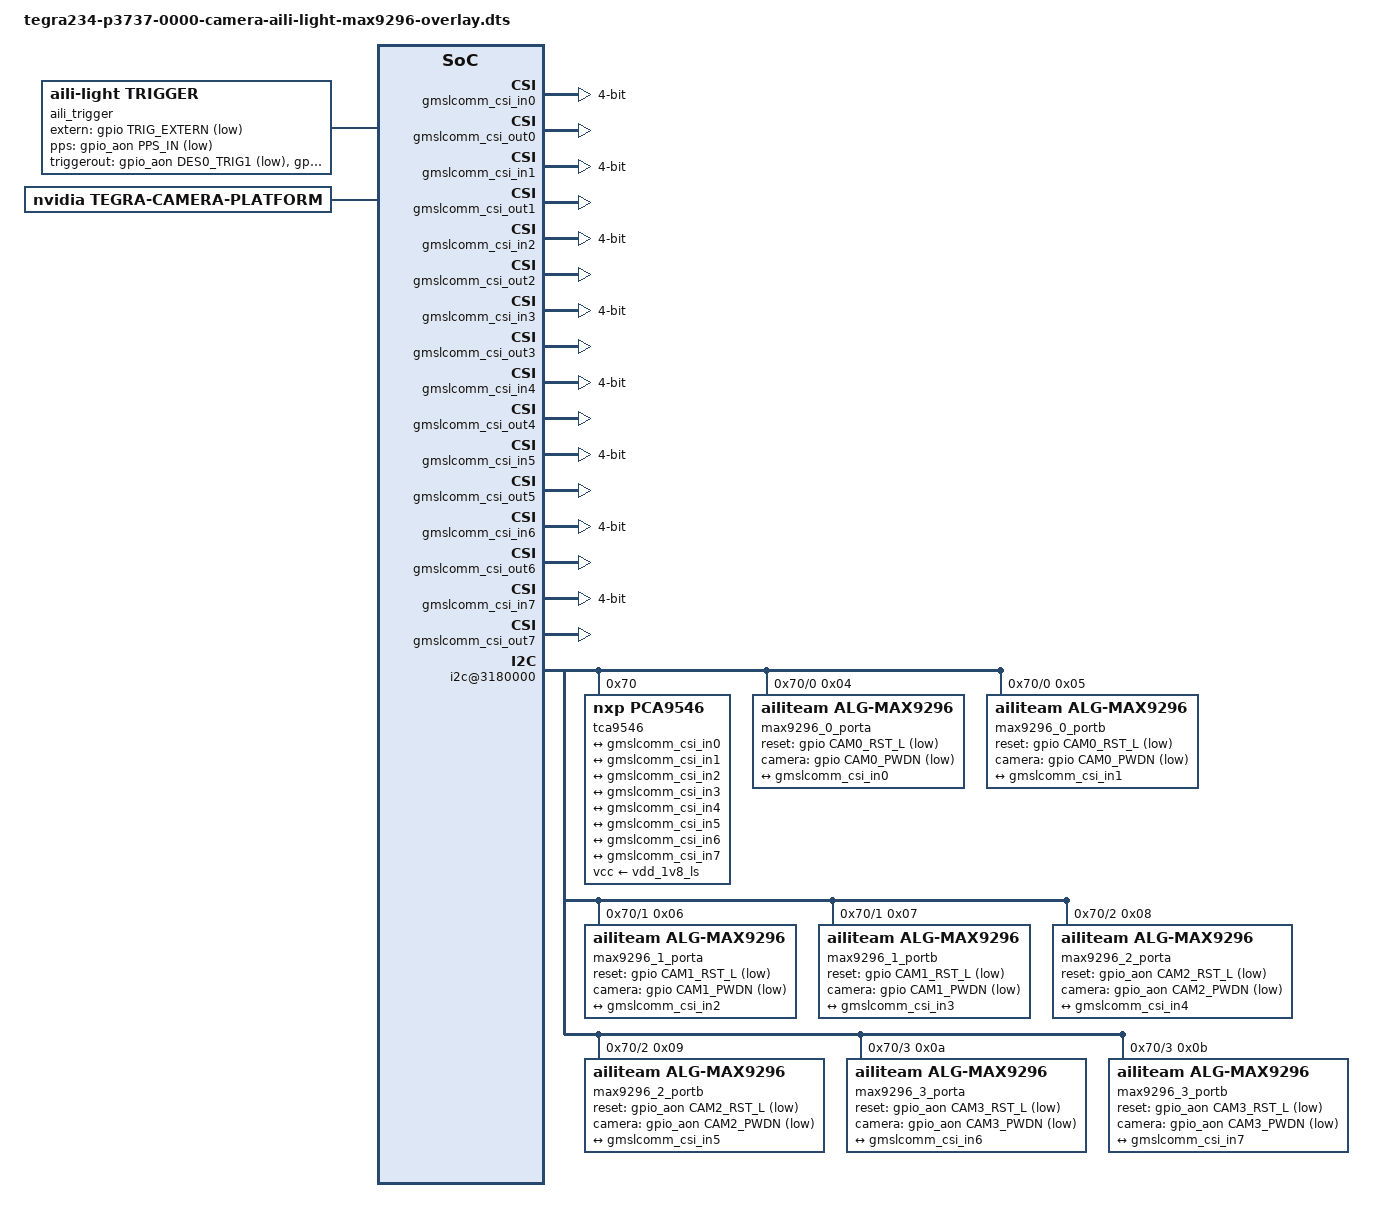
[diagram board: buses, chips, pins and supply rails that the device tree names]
// SPDX-License-Identifier: GPL-2.0-only
// SPDX-FileCopyrightText: Copyright (c) 2018-2023, NVIDIA CORPORATION & AFFILIATES. All rights reserved.

/dts-v1/;
/plugin/;


// #include <dt-bindings/clock/tegra234-clock.h>
#include <dt-bindings/gpio/tegra234-gpio.h>
#include <dt-bindings/tegra234-p3737-0000+p3701-0000.h>
#include <dt-bindings/pinctrl/pinctrl-tegra.h>

#define CAMERA_I2C_MUX_BUS(x) (0x1E + x)

#define CAM0_RST_L	TEGRA234_MAIN_GPIO(H, 3)
#define CAM0_PWDN	TEGRA234_MAIN_GPIO(H, 6)
#define CAM1_RST_L	TEGRA234_MAIN_GPIO(AC, 1)
#define CAM1_PWDN	TEGRA234_MAIN_GPIO(AC, 0)

#define CAM2_RST_L	TEGRA234_AON_GPIO(CC, 2)
#define CAM2_PWDN	TEGRA234_AON_GPIO(CC, 0)
#define CAM3_RST_L	TEGRA234_AON_GPIO(CC, 3)
#define CAM3_PWDN	TEGRA234_AON_GPIO(CC, 1)


#define TRIG_EXTERN		TEGRA234_MAIN_GPIO(AC, 7)
#define DES0_TRIG1		TEGRA234_AON_GPIO(BB, 2)
#define DES0_TRIG2		TEGRA234_MAIN_GPIO(AC, 3)
#define DES1_TRIG1		TEGRA234_AON_GPIO(AA, 7)
#define DES1_TRIG2		TEGRA234_MAIN_GPIO(H, 1)
#define DES2_TRIG1		TEGRA234_AON_GPIO(AA, 4)
#define DES2_TRIG2		TEGRA234_MAIN_GPIO(AC, 4)
#define DES3_TRIG1		TEGRA234_MAIN_GPIO(AC, 2)
#define DES3_TRIG2		TEGRA234_MAIN_GPIO(H, 5)

#define PPS_IN			TEGRA234_AON_GPIO(BB, 0)

// #include "aili-light/tegra234-eac5000-aili-light-camera-modules.dtsi"

/* camera control gpio definitions */
/ {
	overlay-name = "AGX ORIN Aili-Light MAX9296A Device Tree Overlay";
	jetson-header-name = "Jetson AGX CSI Connector";
	compatible = JETSON_COMPATIBLE;
	
	fragment@0 {
		target-path = "/";
		
		__overlay__ {
			tegra-capture-vi {
				status = "okay";
				num-channels = <8>;
				ports {
					status = "okay";
					port@0 {
						reg = <0>;
						status = "okay";
						gmslcomm_vi_in0: endpoint  {
							status = "okay";
							vc-id = <1>;
							port-index = <0>;
							bus-width = <4>;
							remote-endpoint = <&gmslcomm_csi_out0>;
						};
					};
					port@1 {
						reg = <1>;
						status = "okay";
						gmslcomm_vi_in1: endpoint {
							status = "okay";
							vc-id = <0>;
							port-index = <0>;
							bus-width = <4>;
							remote-endpoint = <&gmslcomm_csi_out1>;
						};
					};
					port@2 {
						reg = <2>;
						status = "okay";
						gmslcomm_vi_in2: endpoint  {
							status = "okay";
							vc-id = <1>;
							port-index = <2>;
							bus-width = <4>;
							remote-endpoint = <&gmslcomm_csi_out2>;
						};
					};
					port@3 {
						reg = <3>;
						status = "okay";
						gmslcomm_vi_in3: endpoint {
							status = "okay";
							vc-id = <0>;
							port-index = <2>;
							bus-width = <4>;
							remote-endpoint = <&gmslcomm_csi_out3>;
						};
					};
					port@4 {
						reg = <4>;
						status = "okay";
						gmslcomm_vi_in4: endpoint  {
							status = "okay";
							vc-id = <1>;
							port-index = <4>;
							bus-width = <4>;
							remote-endpoint = <&gmslcomm_csi_out4>;
						};
					};
					port@5 {
						reg = <5>;
						status = "okay";
						gmslcomm_vi_in5: endpoint {
							status = "okay";
							vc-id = <0>;
							port-index = <4>;
							bus-width = <4>;
							remote-endpoint = <&gmslcomm_csi_out5>;
						};
					};
					port@6 {
						reg = <6>;
						status = "okay";
						gmslcomm_vi_in6: endpoint  {
							status = "okay";
							vc-id = <1>;
							port-index = <5>;
							bus-width = <4>;
							remote-endpoint = <&gmslcomm_csi_out6>;
						};
					};
					port@7 {
						reg = <7>;
						status = "okay";
						gmslcomm_vi_in7: endpoint {
							status = "okay";
							vc-id = <0>;
							port-index = <5>;
							bus-width = <4>;
							remote-endpoint = <&gmslcomm_csi_out7>;
						};
					};
				};
			};

			bus@0{

				gpio@2200000 {
					camera-control-output-low {
						output-low;
						gpios = <CAM0_RST_L 0 CAM0_PWDN 0
						CAM1_RST_L 0 CAM1_PWDN 0>;
						label = "cam0-rst", "cam0-pwdn",
						"cam1-rst", "cam1-pwdn";
					};
					trigger-extern-input{
						input;
						gpios = <TRIG_EXTERN 0 PPS_IN 0>;
						label = "trigger-extern","pps-in";
						status = "okay";
					};
					trigger-output-low {
						output-low;
						gpios = < DES0_TRIG2 0 DES1_TRIG2 0 DES2_TRIG2 0
						DES3_TRIG1 0 DES3_TRIG2 0>;
						label = "des0-trig2","des1-trig2","des2-trig2",
						"des3-trig1", "des3-trig2";
						status = "okay";
					};
				};
				gpio@c2f0000 {
					camera-control-output-low {
						output-low;
						gpios = <CAM2_RST_L 0 CAM2_PWDN 0
						CAM3_RST_L 0 CAM3_PWDN 0>;
						label = "cam2-rst", "cam2-pwdn",
						"cam3-rst", "cam3-pwdn";
					};
					trigger-output-low {
						output-low;
						gpios = <DES0_TRIG1 0 DES1_TRIG1 0  DES2_TRIG1 0>;
						label = "des0-trig1", "des1-trig1", "des2-trig1";
						status = "okay";
					};
				};

				aili_trigger: aili_trigger {
					compatible = "aili-light,trigger";

					extern-gpio = <&gpio TRIG_EXTERN GPIO_ACTIVE_LOW>;
					pps-gpio = <&gpio_aon PPS_IN GPIO_ACTIVE_LOW>;
					triggerout-gpios = <&gpio_aon   DES0_TRIG1 GPIO_ACTIVE_LOW>,
									<&gpio  		DES0_TRIG2 GPIO_ACTIVE_LOW>,
									<&gpio_aon   	DES1_TRIG1 GPIO_ACTIVE_LOW>,
									<&gpio  		DES1_TRIG2 GPIO_ACTIVE_LOW>,
									<&gpio_aon   	DES2_TRIG1 GPIO_ACTIVE_LOW>,
									<&gpio  		DES2_TRIG2 GPIO_ACTIVE_LOW>,
									<&gpio  		DES3_TRIG1 GPIO_ACTIVE_LOW>,
									<&gpio  		DES3_TRIG2 GPIO_ACTIVE_LOW>;
					status = "okay";
				};

				host1x@13e00000 {
					nvcsi@15a00000 {
						num-channels = <8>;
						channel@0 {
							status = "okay";
							reg = <0>;
							ports {
								status = "okay";
								port@0 {
									reg = <0>;
									status = "okay";
									gmslcomm_csi_in0: endpoint@0 {
										status = "okay";
										port-index = <0>;
										bus-width = <4>;
										remote-endpoint = <&gmslcomm_des_out0>;
									};
								};
								port@1 {
									reg = <1>;
									status = "okay";
									gmslcomm_csi_out0: endpoint@1 {
										status = "okay";
										remote-endpoint = <&gmslcomm_vi_in0>;
									};
								};
							};
						};
						channel@1 {
							reg = <1>;
							status = "okay";
							ports {
								status = "okay";
								port@0 {
									reg = <0>;
									status = "okay";
									gmslcomm_csi_in1: endpoint@2 {
										status = "okay";
										port-index = <0>;
										bus-width = <4>;
										remote-endpoint = <&gmslcomm_des_out1>;
									};
								};
								port@1 {
									reg = <1>;
									status = "okay";
									gmslcomm_csi_out1: endpoint@3 {
										status = "okay";
										remote-endpoint = <&gmslcomm_vi_in1>;
									};
								};
							};
						};
						channel@2 {
							reg = <2>;
							status = "okay";
							ports {
								status = "okay";
								port@0 {
									reg = <0>;
									status = "okay";
									gmslcomm_csi_in2: endpoint@4 {
										status = "okay";
										port-index = <2>;
										bus-width = <4>;
										remote-endpoint = <&gmslcomm_des_out2>;
									};
								};
								port@1 {
									reg = <1>;
									status = "okay";
									gmslcomm_csi_out2: endpoint@5 {
										status = "okay";
										remote-endpoint = <&gmslcomm_vi_in2>;
									};
								};
							};
						};
						channel@3 {
							reg = <3>;
							status = "okay";
							ports {
								status = "okay";
								port@0 {
									reg = <0>;
									status = "okay";
									gmslcomm_csi_in3: endpoint@6 {
										status = "okay";
										port-index = <2>;
										bus-width = <4>;
										remote-endpoint = <&gmslcomm_des_out3>;
									};
								};
								port@1 {
									reg = <1>;
									status = "okay";
									gmslcomm_csi_out3: endpoint@7 {
										status = "okay";
										remote-endpoint = <&gmslcomm_vi_in3>;
									};
								};
							};
						};
						channel@4 {
							reg = <4>;
							status = "okay";
							ports {
								status = "okay";
								port@0 {
									reg = <0>;
									status = "okay";
									gmslcomm_csi_in4: endpoint@8 {
										status = "okay";
										port-index = <4>;
										bus-width = <4>;
										remote-endpoint = <&gmslcomm_des_out4>;
									};
								};
								port@1 {
									reg = <1>;
									status = "okay";
									gmslcomm_csi_out4: endpoint@9 {
										status = "okay";
										remote-endpoint = <&gmslcomm_vi_in4>;
									};
								};
							};
						};
						channel@5 {
							reg = <5>;
							status = "okay";
							ports {
								status = "okay";
								port@0 {
									reg = <0>;
									status = "okay";
									gmslcomm_csi_in5: endpoint@10 {
										status = "okay";
										port-index = <4>;
										bus-width = <4>;
										remote-endpoint = <&gmslcomm_des_out5>;
									};
								};
								port@1 {
									reg = <1>;
									status = "okay";
									gmslcomm_csi_out5: endpoint@11 {
										status = "okay";
										remote-endpoint = <&gmslcomm_vi_in5>;
									};
								};
							};
						};
						channel@6 {
							reg = <6>;
							status = "okay";
							ports {
								status = "okay";
								port@0 {
									status = "okay";
									reg = <0>;
									gmslcomm_csi_in6: endpoint@12 {
										status = "okay";
										port-index = <6>;
										bus-width = <4>;
										remote-endpoint = <&gmslcomm_des_out6>;
									};
								};
								port@1 {
									status = "okay";
									reg = <1>;
									gmslcomm_csi_out6: endpoint@13 {
										status = "okay";
										remote-endpoint = <&gmslcomm_vi_in6>;
									};
								};
							};
						};
						channel@7 {
							reg = <7>;
							status = "okay";
							ports {
								status = "okay";

								port@0 {
									reg = <0>;
									status = "okay";
									gmslcomm_csi_in7: endpoint@14 {
										status = "okay";
										port-index = <6>;
										bus-width = <4>;
										remote-endpoint = <&gmslcomm_des_out7>;
									};
								};
								port@1 {
									reg = <1>;
									status = "okay";
									gmslcomm_csi_out7: endpoint@15 {
										status = "okay";
										remote-endpoint = <&gmslcomm_vi_in7>;
									};
								};
							};
						};
					};
				};
				i2c@3180000 {
					status = "okay";
					#address-cells = <1>;
					#size-cells = <0>;
					tca9546@70 {
						status = "okay";
						compatible = "nxp,pca9546";
						reg = <0x70>;
						vcc-supply = <&vdd_1v8_ls>;
						force_bus_start = <CAMERA_I2C_MUX_BUS(0)>;
						#address-cells = <1>;
						#size-cells = <0>;
						i2c-mux-idle-disconnect;
						skip_mux_detect = "yes";
						i2c@0 {
							reg = <0>;
							i2c-mux,deselect-on-exit;
							#address-cells = <1>;
							#size-cells = <0>;
							status = "okay";
							max9296_0_porta:gmslcomm_a@4 {
								compatible = "ailiteam,alg-max9296";
								status = "okay";
								reg = <0x4>;
								addr_reg = <0x48>;// i2c地址
								subdev_name = "m00_b_MAX9296A";// V4l2子设备 名字，用于SDK检索
								reset-gpios = <&gpio CAM0_RST_L GPIO_ACTIVE_LOW>;	// 复位引脚
								camera-gpios = <&gpio CAM0_PWDN GPIO_ACTIVE_LOW>;	// 电源引脚
								companion_device = <&max9296_0_portb>;// 伴生设备
								mode0 {
									mclk_khz = "24000";
									num_lanes = "4";
									tegra_sinterface = "serial_e";
									vc_id = "1";
									discontinuous_clk = "no";
									dpcm_enable = "false";
									cil_settletime = "0";
									
									dynamic_pixel_bit_depth = "12";
									csi_pixel_bit_depth = "12";
									pixel_t = "yuv_uyvy16";
									active_w = "1920";
									active_h = "1536";
									readout_orientation = "0";
									line_length = "2200";
									inherent_gain = "1";
									pix_clk_hz = "74250000";
									serdes_pix_clk_hz = "400000000";
									
									gain_factor = "10";
									min_gain_val = "0"; /* dB */
									max_gain_val = "300"; /* dB */
									step_gain_val = "3"; /* 0.3 */
									default_gain = "0";
									min_hdr_ratio = "1";
									max_hdr_ratio = "1";
									framerate_factor = "1000000";
									min_framerate = "30000000";
									max_framerate = "30000000";
									step_framerate = "1";
									default_framerate = "30000000";
									exposure_factor = "1000000";
									min_exp_time = "59"; /*us, 2 lines*/
									max_exp_time = "33333";
									step_exp_time = "1";
									default_exp_time = "33333";/* us */
									embedded_metadata_height = "0";
								};
								ports {
									status = "okay";
									port@0 {
										status = "okay";
										gmslcomm_des_out0: endpoint {
											status = "okay";
											vc-id = <1>;
											port-index = <0>;
											bus-width = <4>;
											remote-endpoint = <&gmslcomm_csi_in0>;
										};
									};
								};
							};
							max9296_0_portb:gmslcomm_b@5 {
								compatible = "ailiteam,alg-max9296";
								status = "okay";
								reg = <0x5>;
								addr_reg = <0x48>;// i2c地址
								subdev_name = "m01_b_MAX9296A";// V4l2子设备 名字，用于SDK检索
								reset-gpios = <&gpio CAM0_RST_L GPIO_ACTIVE_LOW>;	// 复位引脚
								camera-gpios = <&gpio CAM0_PWDN GPIO_ACTIVE_LOW>;	// 电源引脚
								companion_device = <&max9296_0_porta>;// 伴生设备
								mode0 {
									mclk_khz = "24000";
									num_lanes = "4";
									tegra_sinterface = "serial_e";
									vc_id = "0";
									discontinuous_clk = "no";
									dpcm_enable = "false";
									cil_settletime = "0";
									
									dynamic_pixel_bit_depth = "12";
									csi_pixel_bit_depth = "12";
									pixel_t = "yuv_uyvy16";
									active_w = "1920";
									active_h = "1536";
									readout_orientation = "0";
									line_length = "2200";
									inherent_gain = "1";
									pix_clk_hz = "74250000";
									serdes_pix_clk_hz = "400000000";
									
									gain_factor = "10";
									min_gain_val = "0"; /* dB */
									max_gain_val = "300"; /* dB */
									step_gain_val = "3"; /* 0.3 */
									default_gain = "0";
									min_hdr_ratio = "1";
									max_hdr_ratio = "1";
									framerate_factor = "1000000";
									min_framerate = "30000000";
									max_framerate = "30000000";
									step_framerate = "1";
									default_framerate = "30000000";
									exposure_factor = "1000000";
									min_exp_time = "59"; /*us, 2 lines*/
									max_exp_time = "33333";
									step_exp_time = "1";
									default_exp_time = "33333";/* us */
									embedded_metadata_height = "0";
								};
								ports {
									status = "okay";
									port@0 {
										status = "okay";
										gmslcomm_des_out1: endpoint {
											status = "okay";
											vc-id = <0>;
											port-index = <0>;
											bus-width = <4>;
											remote-endpoint = <&gmslcomm_csi_in1>;
										};
									};
								};
							};
						};
						i2c@1 {
							reg = <1>;
							i2c-mux,deselect-on-exit;
							#address-cells = <1>;
							#size-cells = <0>;
							status = "okay";
							max9296_1_porta:gmslcomm_a@6 {
								compatible = "ailiteam,alg-max9296";
								status = "okay";
								reg = <0x6>;
								addr_reg = <0x48>;// i2c地址
								subdev_name = "m02_b_MAX9296A";// V4l2子设备 名字，用于SDK检索
								reset-gpios = <&gpio CAM1_RST_L GPIO_ACTIVE_LOW>;	// 复位引脚
								camera-gpios = <&gpio CAM1_PWDN GPIO_ACTIVE_LOW>;	// 电源引脚
								companion_device = <&max9296_1_portb>;// 伴生设备
								mode0 {
									mclk_khz = "24000";
									num_lanes = "4";
									tegra_sinterface = "serial_e";
									vc_id = "1";
									discontinuous_clk = "no";
									dpcm_enable = "false";
									cil_settletime = "0";
									
									dynamic_pixel_bit_depth = "12";
									csi_pixel_bit_depth = "12";
									pixel_t = "yuv_uyvy16";
									active_w = "1920";
									active_h = "1536";
									readout_orientation = "0";
									line_length = "2200";
									inherent_gain = "1";
									pix_clk_hz = "74250000";
									serdes_pix_clk_hz = "400000000";
									
									gain_factor = "10";
									min_gain_val = "0"; /* dB */
									max_gain_val = "300"; /* dB */
									step_gain_val = "3"; /* 0.3 */
									default_gain = "0";
									min_hdr_ratio = "1";
									max_hdr_ratio = "1";
									framerate_factor = "1000000";
									min_framerate = "30000000";
									max_framerate = "30000000";
									step_framerate = "1";
									default_framerate = "30000000";
									exposure_factor = "1000000";
									min_exp_time = "59"; /*us, 2 lines*/
									max_exp_time = "33333";
									step_exp_time = "1";
									default_exp_time = "33333";/* us */
									embedded_metadata_height = "0";
								};
								ports {
									status = "okay";
									port@0 {
										status = "okay";
										gmslcomm_des_out2: endpoint {
											status = "okay";
											vc-id = <1>;
											port-index = <2>;
											bus-width = <4>;
											remote-endpoint = <&gmslcomm_csi_in2>;
										};
									};
								};
							};
							max9296_1_portb:gmslcomm_b@7 {
								compatible = "ailiteam,alg-max9296";
								status = "okay";
								reg = <0x7>;
								addr_reg = <0x48>;// i2c地址
								subdev_name = "m03_b_MAX9296A";// V4l2子设备 名字，用于SDK检索
								reset-gpios = <&gpio CAM1_RST_L GPIO_ACTIVE_LOW>;	// 复位引脚
								camera-gpios = <&gpio CAM1_PWDN GPIO_ACTIVE_LOW>;	// 电源引脚
								companion_device = <&max9296_1_porta>;// 伴生设备
								mode0 {
									mclk_khz = "24000";
									num_lanes = "4";
									tegra_sinterface = "serial_e";
									vc_id = "0";
									discontinuous_clk = "no";
									dpcm_enable = "false";
									cil_settletime = "0";
									
									dynamic_pixel_bit_depth = "12";
									csi_pixel_bit_depth = "12";
									pixel_t = "yuv_uyvy16";
									active_w = "1920";
									active_h = "1536";
									readout_orientation = "0";
									line_length = "2200";
									inherent_gain = "1";
									pix_clk_hz = "74250000";
									serdes_pix_clk_hz = "400000000";
									
									gain_factor = "10";
									min_gain_val = "0"; /* dB */
									max_gain_val = "300"; /* dB */
									step_gain_val = "3"; /* 0.3 */
									default_gain = "0";
									min_hdr_ratio = "1";
									max_hdr_ratio = "1";
									framerate_factor = "1000000";
									min_framerate = "30000000";
									max_framerate = "30000000";
									step_framerate = "1";
									default_framerate = "30000000";
									exposure_factor = "1000000";
									min_exp_time = "59"; /*us, 2 lines*/
									max_exp_time = "33333";
									step_exp_time = "1";
									default_exp_time = "33333";/* us */
									embedded_metadata_height = "0";
								};
								ports {
									status = "okay";
									port@0 {
										status = "okay";
										gmslcomm_des_out3: endpoint {
											status = "okay";
											vc-id = <0>;
											port-index = <2>;
											bus-width = <4>;
											remote-endpoint = <&gmslcomm_csi_in3>;
										};
									};
								};
							};
						};
						i2c@2 {
							reg = <2>;
							i2c-mux,deselect-on-exit;
							#address-cells = <1>;
							#size-cells = <0>;
							status = "okay";
							max9296_2_porta:gmslcomm_a@8 {
								compatible = "ailiteam,alg-max9296";
								status = "okay";
								reg = <0x8>;
								addr_reg = <0x48>;// i2c地址
								subdev_name = "m04_b_MAX9296A";// V4l2子设备 名字，用于SDK检索
								reset-gpios = <&gpio_aon CAM2_RST_L GPIO_ACTIVE_LOW>;	// 复位引脚
								camera-gpios = <&gpio_aon CAM2_PWDN GPIO_ACTIVE_LOW>;	// 电源引脚
								companion_device = <&max9296_2_portb>;// 伴生设备
								mode0 {
									mclk_khz = "24000";
									num_lanes = "4";
									tegra_sinterface = "serial_e";
									vc_id = "1";
									discontinuous_clk = "no";
									dpcm_enable = "false";
									cil_settletime = "0";
									
									dynamic_pixel_bit_depth = "12";
									csi_pixel_bit_depth = "12";
									pixel_t = "yuv_uyvy16";
									active_w = "1920";
									active_h = "1536";
									readout_orientation = "0";
									line_length = "2200";
									inherent_gain = "1";
									pix_clk_hz = "74250000";
									serdes_pix_clk_hz = "400000000";
									
									gain_factor = "10";
									min_gain_val = "0"; /* dB */
									max_gain_val = "300"; /* dB */
									step_gain_val = "3"; /* 0.3 */
									default_gain = "0";
									min_hdr_ratio = "1";
									max_hdr_ratio = "1";
									framerate_factor = "1000000";
									min_framerate = "30000000";
									max_framerate = "30000000";
									step_framerate = "1";
									default_framerate = "30000000";
									exposure_factor = "1000000";
									min_exp_time = "59"; /*us, 2 lines*/
									max_exp_time = "33333";
									step_exp_time = "1";
									default_exp_time = "33333";/* us */
									embedded_metadata_height = "0";
								};
								ports {
									status = "okay";
									port@0 {
										status = "okay";
										gmslcomm_des_out4: endpoint {
											status = "okay";
											vc-id = <1>;
											port-index = <4>;
											bus-width = <4>;
											remote-endpoint = <&gmslcomm_csi_in4>;
										};
									};
								};
							};
							max9296_2_portb:gmslcomm_b@9 {
								compatible = "ailiteam,alg-max9296";
								status = "okay";
								reg = <0x9>;
								addr_reg = <0x48>;// i2c地址
								subdev_name = "m05_b_MAX9296A";// V4l2子设备 名字，用于SDK检索
								reset-gpios = <&gpio_aon CAM2_RST_L GPIO_ACTIVE_LOW>;	// 复位引脚
								camera-gpios = <&gpio_aon CAM2_PWDN GPIO_ACTIVE_LOW>;	// 电源引脚
								companion_device = <&max9296_2_porta>;// 伴生设备
								mode0 {
									mclk_khz = "24000";
									num_lanes = "4";
									tegra_sinterface = "serial_e";
									vc_id = "0";
									discontinuous_clk = "no";
									dpcm_enable = "false";
									cil_settletime = "0";
									
									dynamic_pixel_bit_depth = "12";
									csi_pixel_bit_depth = "12";
									pixel_t = "yuv_uyvy16";
									active_w = "1920";
									active_h = "1536";
									readout_orientation = "0";
									line_length = "2200";
									inherent_gain = "1";
									pix_clk_hz = "74250000";
									serdes_pix_clk_hz = "400000000";
									
									gain_factor = "10";
									min_gain_val = "0"; /* dB */
									max_gain_val = "300"; /* dB */
									step_gain_val = "3"; /* 0.3 */
									default_gain = "0";
									min_hdr_ratio = "1";
									max_hdr_ratio = "1";
									framerate_factor = "1000000";
									min_framerate = "30000000";
									max_framerate = "30000000";
									step_framerate = "1";
									default_framerate = "30000000";
									exposure_factor = "1000000";
									min_exp_time = "59"; /*us, 2 lines*/
									max_exp_time = "33333";
									step_exp_time = "1";
									default_exp_time = "33333";/* us */
									embedded_metadata_height = "0";
								};
								ports {
									status = "okay";
									port@0 {
										status = "okay";
										gmslcomm_des_out5: endpoint {
											status = "okay";
											vc-id = <0>;
											port-index = <4>;
											bus-width = <4>;
											remote-endpoint = <&gmslcomm_csi_in5>;
										};
									};
								};
							};
						};
						i2c@3 {
							reg = <3>;
							i2c-mux,deselect-on-exit;
							#address-cells = <1>;
							#size-cells = <0>;
							status = "okay";
							max9296_3_porta:gmslcomm_a@10 {
								compatible = "ailiteam,alg-max9296";
								status = "okay";
								reg = <10>;
								addr_reg = <0x48>;// i2c地址
								subdev_name = "m06_b_MAX9296A";// V4l2子设备 名字，用于SDK检索
								reset-gpios = <&gpio_aon CAM3_RST_L GPIO_ACTIVE_LOW>;	// 复位引脚
								camera-gpios = <&gpio_aon CAM3_PWDN GPIO_ACTIVE_LOW>;	// 电源引脚
								companion_device = <&max9296_3_portb>;// 伴生设备
								mode0 {
									mclk_khz = "24000";
									num_lanes = "4";
									tegra_sinterface = "serial_e";
									vc_id = "1";
									discontinuous_clk = "no";
									dpcm_enable = "false";
									cil_settletime = "0";
									
									dynamic_pixel_bit_depth = "12";
									csi_pixel_bit_depth = "12";
									pixel_t = "yuv_uyvy16";
									active_w = "1920";
									active_h = "1536";
									readout_orientation = "0";
									line_length = "2200";
									inherent_gain = "1";
									pix_clk_hz = "74250000";
									serdes_pix_clk_hz = "400000000";
									
									gain_factor = "10";
									min_gain_val = "0"; /* dB */
									max_gain_val = "300"; /* dB */
									step_gain_val = "3"; /* 0.3 */
									default_gain = "0";
									min_hdr_ratio = "1";
									max_hdr_ratio = "1";
									framerate_factor = "1000000";
									min_framerate = "30000000";
									max_framerate = "30000000";
									step_framerate = "1";
									default_framerate = "30000000";
									exposure_factor = "1000000";
									min_exp_time = "59"; /*us, 2 lines*/
									max_exp_time = "33333";
									step_exp_time = "1";
									default_exp_time = "33333";/* us */
									embedded_metadata_height = "0";
								};
								ports {
									status = "okay";
									port@0 {
										status = "okay";
										gmslcomm_des_out6: endpoint {
											status = "okay";
											vc-id = <1>;
											port-index = <6>;
											bus-width = <4>;
											remote-endpoint = <&gmslcomm_csi_in6>;
										};
									};
								};
							};
							max9296_3_portb:gmslcomm_b@11 {
								compatible = "ailiteam,alg-max9296";
								status = "okay";
								reg = <11>;
								addr_reg = <0x48>;// i2c地址
								subdev_name = "m07_b_MAX9296A";// V4l2子设备 名字，用于SDK检索
								reset-gpios = <&gpio_aon CAM3_RST_L GPIO_ACTIVE_LOW>;	// 复位引脚
								camera-gpios = <&gpio_aon CAM3_PWDN GPIO_ACTIVE_LOW>;	// 电源引脚
								companion_device = <&max9296_3_porta>;// 伴生设备
								mode0 {
									mclk_khz = "24000";
									num_lanes = "4";
									tegra_sinterface = "serial_e";
									vc_id = "0";
									discontinuous_clk = "no";
									dpcm_enable = "false";
									cil_settletime = "0";
									
									dynamic_pixel_bit_depth = "12";
									csi_pixel_bit_depth = "12";
									pixel_t = "yuv_uyvy16";
									active_w = "1920";
									active_h = "1536";
									readout_orientation = "0";
									line_length = "2200";
									inherent_gain = "1";
									pix_clk_hz = "74250000";
									serdes_pix_clk_hz = "400000000";
									
									gain_factor = "10";
									min_gain_val = "0"; /* dB */
									max_gain_val = "300"; /* dB */
									step_gain_val = "3"; /* 0.3 */
									default_gain = "0";
									min_hdr_ratio = "1";
									max_hdr_ratio = "1";
									framerate_factor = "1000000";
									min_framerate = "30000000";
									max_framerate = "30000000";
									step_framerate = "1";
									default_framerate = "30000000";
									exposure_factor = "1000000";
									min_exp_time = "59"; /*us, 2 lines*/
									max_exp_time = "33333";
									step_exp_time = "1";
									default_exp_time = "33333";/* us */
									embedded_metadata_height = "0";
								};
								ports {
									status = "okay";
									port@0 {
										status = "okay";
										gmslcomm_des_out7: endpoint {
											status = "okay";
											vc-id = <0>;
											port-index = <6>;
											bus-width = <4>;
											remote-endpoint = <&gmslcomm_csi_in7>;
										};
									};
								};
							};
						};
					};
				};
			};

			tegra-camera-platform {
				compatible = "nvidia, tegra-camera-platform";
				num_csi_lanes = <16>;
				max_lane_speed = <2500000>;
				min_bits_per_pixel = <10>;
				vi_peak_byte_per_pixel = <2>;
				vi_bw_margin_pct = <25>;
				isp_peak_byte_per_pixel = <5>;
				isp_bw_margin_pct = <25>;
				modules {
					status = "okay";
					module0 {
						badge = "max9296_bottomleft";
						position = "bottomleft";
						orientation = "1";
						status = "okay";
						drivernode0 {
							status = "okay";
							/* Declare PCL support driver (classically known as guid) */
							pcl_id = "v4l2_sensor";
							/* Declare the device-tree hierarchy to driver instance */
							sysfs-device-tree = "/sys/firmware/devicetree/base/bus@0/i2c@3180000/tca9546@70/i2c@0/gmslcomm_a@4";
						};
					};
					module1 {
						status = "okay";
						badge = "max9296_bottomright";
						position = "bottomright";
						orientation = "1";
						drivernode0 {
							status = "okay";
							/* Declare PCL support driver (classically known as guid)  */
							pcl_id = "v4l2_sensor";
							/* Declare the device-tree hierarchy to driver instance */
							sysfs-device-tree = "/sys/firmware/devicetree/base/bus@0/i2c@3180000/tca9546@70/i2c@0/gmslcomm_b@5";
						};
					};
					module2 {
						badge = "max9296_centerleft";
						position = "centerleft";
						orientation = "1";
						status = "okay";
						drivernode0 {
							status = "okay";
							/* Declare PCL support driver (classically known as guid) */
							pcl_id = "v4l2_sensor";
							/* Declare the device-tree hierarchy to driver instance */
							sysfs-device-tree = "/sys/firmware/devicetree/base/bus@0/i2c@3180000/tca9546@70/i2c@1/gmslcomm_a@6";
						};
					};
					module3 {
						status = "okay";
						badge = "max9296_centerright";
						position = "centerright";
						orientation = "1";
						drivernode0 {
							status = "okay";
							/* Declare PCL support driver (classically known as guid)  */
							pcl_id = "v4l2_sensor";
							/* Declare the device-tree hierarchy to driver instance */
							sysfs-device-tree = "/sys/firmware/devicetree/base/bus@0/i2c@3180000/tca9546@70/i2c@1/gmslcomm_b@7";
						};
					};
					module4 {
						badge = "max9296_topleft";
						position = "topleft";
						orientation = "1";
						status = "okay";
						drivernode0 {
							status = "okay";
							/* Declare PCL support driver (classically known as guid) */
							pcl_id = "v4l2_sensor";
							/* Declare the device-tree hierarchy to driver instance */
							sysfs-device-tree = "/sys/firmware/devicetree/base/bus@0/i2c@3180000/tca9543@73/i2c@2/gmslcomm_a@8";
						};
					};
					module5 {
						status = "okay";
						badge = "max9296_topright";
						position = "topright";
						orientation = "1";
						drivernode0 {
							status = "okay";
							/* Declare PCL support driver (classically known as guid)  */
							pcl_id = "v4l2_sensor";
							/* Declare the device-tree hierarchy to driver instance */
							sysfs-device-tree = "/sys/firmware/devicetree/base/bus@0/i2c@3180000/tca9543@73/i2c@2/gmslcomm_b@9";
						};
					};
					module6 {
						badge = "max9296_rear";
						position = "rear";
						orientation = "1";
						status = "okay";
						drivernode0 {
							status = "okay";
							/* Declare PCL support driver (classically known as guid) */
							pcl_id = "v4l2_sensor";
							/* Declare the device-tree hierarchy to driver instance */
							sysfs-device-tree = "/sys/firmware/devicetree/base/bus@0/i2c@3180000/tca9543@73/i2c@3/gmslcomm_a@10";
						};
					};
					module7 {
						status = "okay";
						badge = "max9296_front";
						position = "front";
						orientation = "1";
						drivernode0 {
							status = "okay";
							/* Declare PCL support driver (classically known as guid)  */
							pcl_id = "v4l2_sensor";
							/* Declare the device-tree hierarchy to driver instance */
							sysfs-device-tree = "/sys/firmware/devicetree/base/bus@0/i2c@3180000/tca9543@73/i2c@3/gmslcomm_b@11";
						};
					};
				};
			};

		};
	};


	// p3737-0000_p3701-0000-csi@1 {
    //     target = <&pinmux>;
    //     __overlay__ {
    //         pinctrl-names = "default";
	// 		pinctrl-0 = <&jetson_io_pinmux>;
	// 		jetson_io_pinmux: exp-header-pinmux{
	// // 			// 原始功能：CAM_ERROR1 spi5_cs0_pac3 -> trigger_out1
	// // 			csi-pin76c {
	// // 				nvidia,pins = "spi5_cs0_pac3";
	// // 				nvidia,function = "rsvd3";
	// // 				nvidia,pull = <TEGRA_PIN_PULL_NONE>;
	// // 				nvidia,tristate = <TEGRA_PIN_DISABLE>;
	// // 				nvidia,enable-input = <TEGRA_PIN_DISABLE>;
	// // 				nvidia,lpdr = <TEGRA_PIN_DISABLE>;
	// // 			};
	// // 			// 原始功能：CAM_ERROR2 soc_gpio22_ph1 -> trigger_out3
	// // 			csi-pin78 {
	// // 				nvidia,pins = "soc_gpio22_ph1";
	// // 				nvidia,function = "rsvd0";
	// // 				nvidia,pull = <TEGRA_PIN_PULL_NONE>;
	// // 				nvidia,tristate = <TEGRA_PIN_DISABLE>;
	// // 				nvidia,enable-input = <TEGRA_PIN_DISABLE>;
	// // 				nvidia,lpdr = <TEGRA_PIN_DISABLE>;
	// // 			};
	// // 			// 原始功能：CAM_ERROR3 soc_gpio57_pac4 -> trigger_out5
	// // 			csi-pin84 {
	// // 				nvidia,pins = "soc_gpio57_pac4";
	// // 				nvidia,function = "rsvd0";
	// // 				nvidia,pull = <TEGRA_PIN_PULL_NONE>;
	// // 				nvidia,tristate = <TEGRA_PIN_DISABLE>;
	// // 				nvidia,enable-input = <TEGRA_PIN_DISABLE>;
	// // 				nvidia,lpdr = <TEGRA_PIN_DISABLE>;
	// // 			};
	// // 			// 原始功能：CAM_FRSYNC4 spi5_mosi_pac2 -> trigger_out6
	// // 			csi-pin96c {
	// // 				nvidia,pins = "spi5_mosi_pac2";
	// // 				nvidia,function = "rsvd3";
	// // 				nvidia,pull = <TEGRA_PIN_PULL_NONE>;
	// // 				nvidia,tristate = <TEGRA_PIN_DISABLE>;
	// // 				nvidia,enable-input = <TEGRA_PIN_DISABLE>;
	// // 				nvidia,lpdr = <TEGRA_PIN_DISABLE>;
	// // 			};
	// // 			// 原始功能：CAM_ERROR4 uart4_rts_ph5 -> trigger_out7
	// // 			csi-pin86 {
	// // 				nvidia,pins = "uart4_rts_ph5";
	// // 				nvidia,function = "rsvd2";
	// // 				nvidia,pull = <TEGRA_PIN_PULL_NONE>;
	// // 				nvidia,tristate = <TEGRA_PIN_DISABLE>;
	// // 				nvidia,enable-input = <TEGRA_PIN_DISABLE>;
	// // 				nvidia,lpdr = <TEGRA_PIN_DISABLE>;
	// // 			};
	// // 			// 原來 CAM0_RST pin 95  現在CAM0_RST_L
	// // 			csi-pin95 {
	// // 				nvidia,pins = "uart4_tx_ph3";
	// // 				nvidia,function = "rsvd2";
	// // 				nvidia,pull = <TEGRA_PIN_PULL_NONE>;
	// // 				nvidia,tristate = <TEGRA_PIN_DISABLE>;
	// // 				nvidia,enable-input = <TEGRA_PIN_DISABLE>;
	// // 				nvidia,lpdr = <TEGRA_PIN_DISABLE>;
	// // 			};
	// // 			// 原來 CAM0_PWDN pin 93 現在CAM0_PWDN
	// // 			csi-pin93 {
	// // 				nvidia,pins = "uart4_cts_ph6";
	// // 				nvidia,function = "rsvd1";
	// // 				nvidia,pull = <TEGRA_PIN_PULL_NONE>;
	// // 				nvidia,tristate = <TEGRA_PIN_DISABLE>;
	// // 				nvidia,enable-input = <TEGRA_PIN_DISABLE>;
	// // 				nvidia,lpdr = <TEGRA_PIN_DISABLE>;
	// // 			};
	// // 			// 原來的CAM1_RST 連接器pin:92 原來的CAM1_RST
	// // 			csi-pin92c {
	// // 				nvidia,pins = "spi5_miso_pac1";
	// // 				nvidia,function = "rsvd3";
	// // 				nvidia,pull = <TEGRA_PIN_PULL_NONE>;
	// // 				nvidia,tristate = <TEGRA_PIN_DISABLE>;
	// // 				nvidia,enable-input = <TEGRA_PIN_DISABLE>;
	// // 				nvidia,lpdr = <TEGRA_PIN_DISABLE>;
	// // 			};
	// // 			// 原來的CAM1_PWDN 連接器pin:90 原來的CAM1_PWDN
	// // 			csi-pin90c {
	// // 				nvidia,pins = "spi5_sck_pac0";
	// // 				nvidia,function = "rsvd3";
	// // 				nvidia,pull = <TEGRA_PIN_PULL_NONE>;
	// // 				nvidia,tristate = <TEGRA_PIN_DISABLE>;
	// // 				nvidia,enable-input = <TEGRA_PIN_DISABLE>;
	// // 				nvidia,lpdr = <TEGRA_PIN_DISABLE>;
	// // 			};
	// // 			// // 原來的CAM_VDD_SYS_EN pin 119 現在EXTERN TRIG
	// // 			// csi-pin119 {
	// // 			// 	nvidia,pins = "soc_gpio60_pac7";
	// // 			// 	nvidia,function = "rsvd0";
	// // 			// 	nvidia,pull = <TEGRA_PIN_PULL_NONE>;
	// // 			// 	nvidia,tristate = <TEGRA_PIN_ENABLE>;
	// // 			// 	nvidia,enable-input = <TEGRA_PIN_ENABLE>;
	// // 			// 	nvidia,lpdr = <TEGRA_PIN_DISABLE>;
	// // 			// };
	// 		};
    //     };
    // };

	// fragment@2 {
	// 	target = <&pinmux_aon>;
	// 	__overlay__ {
	// 		pinctrl-names = "default";
	// 		pinctrl-0 = <&jetson_io_pinmux_aon>;
	// 		jetson_io_pinmux_aon: exp-header-pinmux 
	// 		{
	// 			// // 原始功能：CAM_FRSYNC1 soc_gpio50_pbb2 -> trigger_out0
	// 			// csi-pin85 {
	// 			// 	nvidia,pins = "soc_gpio50_pbb2";
	// 			// 	nvidia,function = "rsvd0";
	// 			// 	nvidia,pull = <TEGRA_PIN_PULL_NONE>;
	// 			// 	nvidia,tristate = <TEGRA_PIN_DISABLE>;
	// 			// 	nvidia,enable-input = <TEGRA_PIN_DISABLE>;
	// 			// };
	// 			// 原始功能：CAM_FRSYNC3 can0_stb_paa4 -> trigger_out4
	// 			// csi-pin97 {
	// 			// 	nvidia,pins = "can0_stb_paa4";
	// 			// 	nvidia,function = "rsvd0";
	// 			// 	nvidia,pull = <TEGRA_PIN_PULL_NONE>;
	// 			// 	nvidia,tristate = <TEGRA_PIN_DISABLE>;
	// 			// 	nvidia,enable-input = <TEGRA_PIN_DISABLE>;
	// 			// };
	// 			// // 原始功能：CAM_FRSYNC2   can0_err_paa7 -> trigger_out2
	// 			// csi-pin98 {
	// 			// 	nvidia,pins = "can0_err_paa7";
	// 			// 	nvidia,function = "rsvd0";
	// 			// 	nvidia,pull = <TEGRA_PIN_PULL_NONE>;
	// 			// 	nvidia,tristate = <TEGRA_PIN_DISABLE>;
	// 			// 	nvidia,enable-input = <TEGRA_PIN_DISABLE>;
	// 			// };
	// 			// 原來的INT3 pin103 spi2_mosi_pcc2 現在CAM2_RST_L
	// 			csi-pin103 {
	// 				nvidia,pins = "spi2_mosi_pcc2";
	// 				nvidia,function = "rsvd1";
	// 				nvidia,pull = <TEGRA_PIN_PULL_NONE>;
	// 				nvidia,tristate = <TEGRA_PIN_DISABLE>;
	// 				nvidia,enable-input = <TEGRA_PIN_DISABLE>;
	// 				nvidia,io-high-voltage = <TEGRA_PIN_DISABLE>;
	// 				nvidia,lpdr = <TEGRA_PIN_DISABLE>;
	// 			};
	// 			// 原來的INT4 pin104 spi2_cs0_pcc3 現在CAM3_RST_L
	// 			csi-pin104 {
	// 				nvidia,pins = "spi2_cs0_pcc3";
	// 				nvidia,function = "rsvd1";
	// 				nvidia,pull = <TEGRA_PIN_PULL_NONE>;
	// 				nvidia,tristate = <TEGRA_PIN_DISABLE>;
	// 				nvidia,enable-input = <TEGRA_PIN_DISABLE>;
	// 				nvidia,io-high-voltage = <TEGRA_PIN_DISABLE>;
	// 				nvidia,lpdr = <TEGRA_PIN_DISABLE>;
	// 			};
	// 			// 原來的INT2 pin 106 spi2_miso_pcc1 現在CAM3_PWDN
	// 			csi-pin106 {
	// 				nvidia,pins = "spi2_miso_pcc1";
	// 				nvidia,function = "rsvd1";
	// 				nvidia,pull = <TEGRA_PIN_PULL_NONE>;
	// 				nvidia,tristate = <TEGRA_PIN_DISABLE>;
	// 				nvidia,enable-input = <TEGRA_PIN_DISABLE>;
	// 				nvidia,io-high-voltage = <TEGRA_PIN_DISABLE>;
	// 				nvidia,lpdr = <TEGRA_PIN_DISABLE>;
	// 			};
	// 			// 原來的INT1 pin 117 spi2_sck_pcc0 現在CAM2_PWDN
	// 			csi-pin117 {
	// 				nvidia,pins = "spi2_sck_pcc0";
	// 				nvidia,function = "rsvd1";
	// 				nvidia,pull = <TEGRA_PIN_PULL_NONE>;
	// 				nvidia,tristate = <TEGRA_PIN_DISABLE>;
	// 				nvidia,enable-input = <TEGRA_PIN_DISABLE>;
	// 				nvidia,io-high-voltage = <TEGRA_PIN_DISABLE>;
	// 				nvidia,lpdr = <TEGRA_PIN_DISABLE>;
	// 			};
	// 		};
	// 	};
	// };
};
